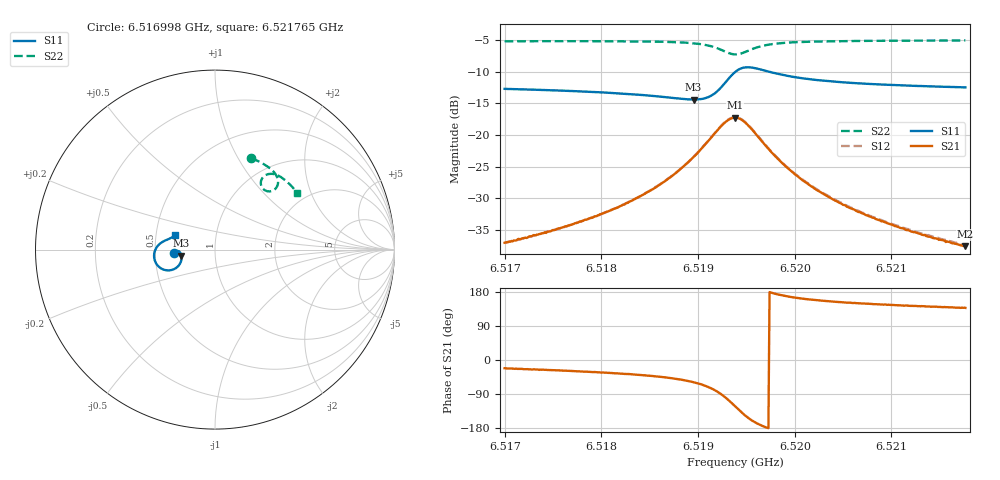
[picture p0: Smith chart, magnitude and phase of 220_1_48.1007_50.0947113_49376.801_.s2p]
#  HZ  S  RI  R  50.00
! Rohde & Schwarz Vector Network Analyzer
! Rohde-Schwarz,ZNB20-2Port,1311601062101988,3.16
! Created: UTC 12/23/2023, 3:56:39 AM
! freq[Hz]  re:S11  im:S11  re:S21  im:S21  re:S12  im:S12  re:S22  im:S22
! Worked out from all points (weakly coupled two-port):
!   401 points, 6.516998 GHz to 6.521765 GHz, reference 50 ohm
!   highest |S21| = -17.27 dB at 6.519381 GHz (marker M1); lowest = -37.5 dB at 6.521765 GHz (marker M2)
!   lowest |S11| = -14.4 dB at 6.518952 GHz (marker M3), VSWR 1.47, Z = 34.2 - j2.4 ohm
!   |S11| at or under -10 dB: start of sweep to 6.519389 GHz; 6.519728 GHz to end of sweep
!   |S22| runs from -7.3 to -5.1 dB; largest |S21 - S12| = 0.0042
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6.5169983e9  -0.2303 -0.0172  0.0131 -0.00523  0.0133 -0.00485  0.2031 0.5093
6.517451e9  -0.2251 -0.0106  0.0155 -0.00769  0.0156 -0.00713  0.2365 0.4952
6.5177966e9  -0.2202 -0.00672  0.0181 -0.0106  0.0184 -0.0098  0.2621 0.4821
6.5181779e9  -0.2128 -0.00451  0.022 -0.0157  0.0225 -0.0151  0.2907 0.4645
6.5184162e9  -0.2065 -0.00571  0.0256 -0.0214  0.0263 -0.0205  0.3088 0.4507
6.518595e9  -0.2008 -0.00922  0.0289 -0.0279  0.0299 -0.0272  0.3229 0.4379
6.5187856e9  -0.1935 -0.0178  0.0327 -0.0395  0.0342 -0.0385  0.3374 0.4198
6.5189524e9  -0.1873 -0.0339  0.0348 -0.057  0.0368 -0.0563  0.3484 0.3972
6.5190597e9  -0.1866 -0.0523  0.0322 -0.075  0.0348 -0.0746  0.3516 0.3769
6.519155e9  -0.1939 -0.0763  0.022 -0.0968  0.0251 -0.0969  0.3466 0.3539
6.5192861e9  -0.2363 -0.1121  -0.0215 -0.1252  -0.0178 -0.1269  0.3141 0.3256
6.5193814e9  -0.2937 -0.1085  -0.0724 -0.1162  -0.0698 -0.119  0.2745 0.3329
6.5194291e9  -0.3185 -0.09  -0.0927 -0.0973  -0.0905 -0.1008  0.2607 0.3487
6.5194886e9  -0.3361 -0.0589  -0.1048 -0.0683  -0.1036 -0.0718  0.2553 0.3728
6.5195959e9  -0.3353 -0.00876  -0.0986 -0.0255  -0.0988 -0.0288  0.2696 0.4055
6.5197031e9  -0.3191 0.0206  -0.0815 -0.00321  -0.0822 -0.00569  0.2924 0.4194
6.5199414e9  -0.2871 0.0459  -0.0522 0.012  -0.0531 0.0105  0.3329 0.4195
6.5201797e9  -0.2681 0.0549  -0.0365 0.0139  -0.0371 0.0131  0.3601 0.4083
6.520561e9  -0.2506 0.062  -0.0234 0.0128  -0.0242 0.0125  0.3914 0.3871
6.5209781e9  -0.2388 0.068  -0.0164 0.0112  -0.0169 0.0109  0.418 0.3622
6.5213832e9  -0.2305 0.0737  -0.0123 0.00988  -0.0129 0.00986  0.4403 0.3375
6.5217645e9  -0.2239 0.0788  -0.00979 0.00896  -0.0102 0.00884  0.4591 0.314
